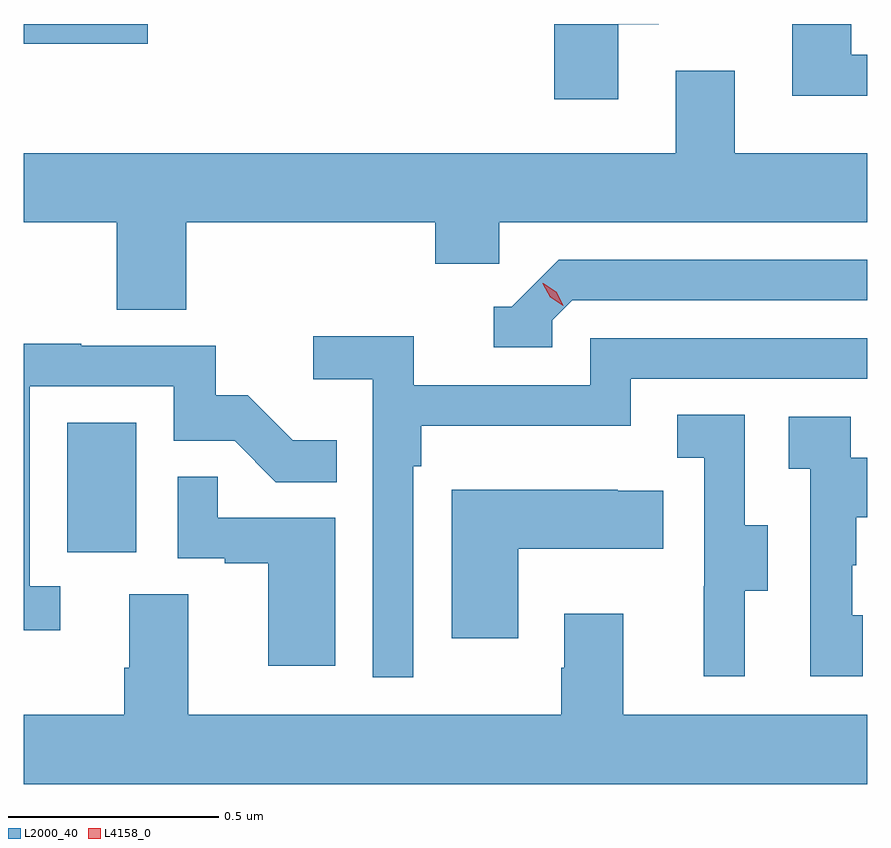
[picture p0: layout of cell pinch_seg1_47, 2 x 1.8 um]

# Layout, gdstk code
import gdstk
lib = gdstk.Library(unit=1e-6, precision=1e-09)
def R(c, l, rs):  # rectangles x0, y0, x1, y1
    for r in rs: c.add(gdstk.rectangle(r[:2], r[2:], *l))
def P(c, l, *ps):  # polygons
    for p in ps: c.add(gdstk.Polygon(p, *l))
L2000_40 = (2000, 40)
L4158_0 = (4158, 0)

pinch_seg1_47 = lib.new_cell('pinch_seg1_47')
R(pinch_seg1_47, L2000_40, [(1103.492,564.27,1103.656,564.577), (1103.389,565.475,1103.683,565.522)])
P(pinch_seg1_47, L2000_40, [(1105.389,565.449),(1105.351,565.449),(1105.351,565.522),(1105.115,565.522),(1105.115,565.521),(1105.211,565.521),(1105.211,565.352),(1105.389,565.352)],
  [(1104.799,565.521),(1104.895,565.521),(1104.895,565.522),(1104.647,565.522),(1104.647,565.344),(1104.799,565.344)],
  [(1103.774,565.052),(1104.365,565.052),(1104.365,564.954),(1104.516,564.954),(1104.516,565.052),(1105.389,565.052),(1105.389,565.216),(1105.075,565.216),(1105.075,565.411),(1104.935,565.411),(1104.935,565.216),(1103.389,565.216),(1103.389,565.052),(1103.609,565.052),(1103.609,564.844),(1103.774,564.844)],
  [(1104.642,564.819),(1104.69,564.867),(1105.389,564.867),(1105.389,564.963),(1104.657,564.963),(1104.546,564.852),(1104.503,564.852),(1104.503,564.756),(1104.642,564.756)],
  [(1104.312,564.473),(1104.332,564.473),(1104.332,564.569),(1104.828,564.569),(1104.828,564.681),(1105.389,564.681),(1105.389,564.777),(1104.732,564.777),(1104.732,564.666),(1104.314,564.666),(1104.314,564.782),(1104.075,564.782),(1104.075,564.68),(1104.216,564.68),(1104.216,563.973),(1104.312,563.973)],
  [(1103.476,564.189),(1103.403,564.189),(1103.403,564.663),(1103.745,564.663),(1103.745,564.534),(1103.889,564.534),(1103.987,564.436),(1104.131,564.436),(1104.131,564.535),(1104.027,564.535),(1103.92,564.642),(1103.844,564.642),(1103.844,564.759),(1103.525,564.759),(1103.525,564.764),(1103.389,564.764),(1103.389,564.084),(1103.476,564.084)],
  [(1105.099,564.178),(1105.153,564.178),(1105.153,564.333),(1105.098,564.333),(1105.098,564.596),(1104.939,564.596),(1104.939,564.493),(1105.002,564.493),(1105.002,564.189),(1105.001,564.189),(1105.001,563.976),(1105.099,563.976)],
  [(1105.378,564.12),(1105.353,564.12),(1105.353,564.239),(1105.363,564.239),(1105.363,564.353),(1105.389,564.353),(1105.389,564.493),(1105.35,564.493),(1105.35,564.591),(1105.203,564.591),(1105.203,564.467),(1105.254,564.467),(1105.254,563.976),(1105.378,563.976)],
  [(1104.127,564.351),(1103.849,564.351),(1103.849,564.449),(1103.754,564.449),(1103.754,564.255),(1103.865,564.255),(1103.865,564.243),(1103.969,564.243),(1103.969,564),(1104.127,564)],
  [(1104.562,564.278),(1104.905,564.278),(1104.905,564.415),(1104.797,564.415),(1104.797,564.418),(1104.404,564.418),(1104.404,564.066),(1104.562,564.066)],
  [(1105.389,563.884),(1104.811,563.884),(1104.811,564.124),(1104.671,564.124),(1104.671,563.996),(1104.664,563.996),(1104.664,563.884),(1103.779,563.884),(1103.779,564.17),(1103.639,564.17),(1103.639,563.996),(1103.627,563.996),(1103.627,563.884),(1103.389,563.884),(1103.389,563.72),(1105.389,563.72)])
P(pinch_seg1_47, L4158_0, [(1104.668,564.854),(1104.637,564.874),(1104.62,564.906),(1104.62,564.907),(1104.621,564.907),(1104.652,564.887),(1104.668,564.855),(1104.668,564.854)])

lib.write_gds('pinch_seg1_47.gds')
